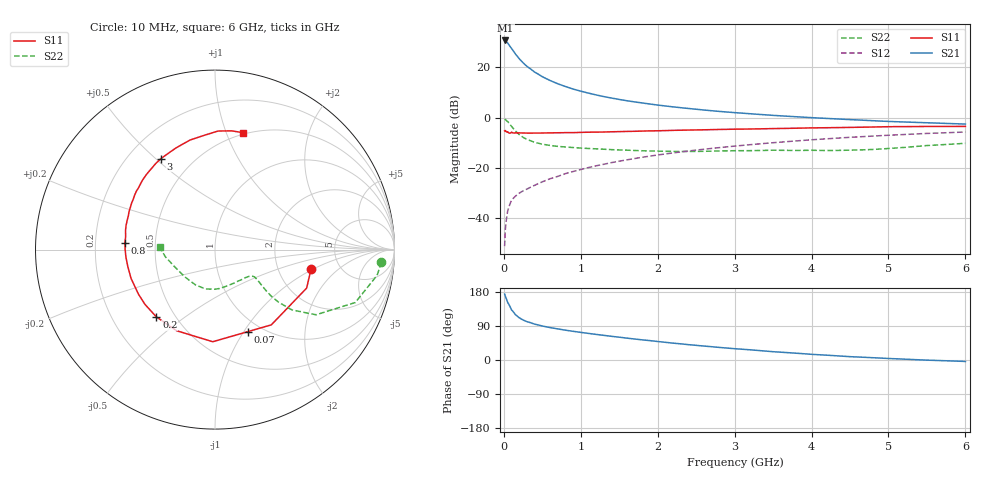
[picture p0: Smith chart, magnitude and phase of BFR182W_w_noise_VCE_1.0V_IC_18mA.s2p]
! (c) 2017  Infineon Technologies AG, Munich
! Infineon Technologies  Discrete & RF Semiconductors
! BFR182W
! VCE =  1.0 V,  IC =  18 mA
! Common Emitter S-Parameters:  Jan 2017
# GHz  S  MA  R  50
!  f  S11  S21  S12  S22
! GHz  MAG  ANG  MAG  ANG  MAG  ANG  MAG  ANG
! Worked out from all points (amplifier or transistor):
!   77 points, 10 MHz to 6 GHz, reference 50 ohm
!   highest |S21| = 30.7 dB at 20 MHz (marker M1)
!   |S21| within 3 dB of that: start of sweep to 96.21 MHz
!   unconditionally stable (mu >= 1): 470.7 MHz to 3.093 GHz
!   at 130 MHz: K = 0.49, MSG = 29.0 dB, |S12| = -31.8 dB
!   at 2.2 GHz: K = 1.07, MAG = 7.5 dB, |S12| = -14.0 dB
!   at 6 GHz: K = 0.96, MSG = 1.6 dB, |S12| = -5.7 dB
!   lowest NFmin = 1.34 dB at 450 MHz
!   S11 on the Smith chart (normalised r, x): 10 MHz: 3.07, -0.96; 70 MHz: 0.86, -1.04; 200 MHz: 0.40, -0.40; 800 MHz: 0.33, +0.03; 3 GHz: 0.33, +0.52; 6 GHz: 0.48, +1.14
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0.01  0.5459 -11.6  34.02 173.9  0.0028 82.4  0.9298 -4.3
0.02  0.5538 -22.8  34.09 168.1  0.0061 82.5  0.9147 -9.0
0.05  0.5237 -53.2  30.4 151.8  0.014 69.0  0.8349 -20.7
0.07  0.4923 -68.2  27.36 145.1  0.0175 64.0  0.7652 -24.9
0.1  0.5135 -91.4  23.74 132.1  0.0229 59.5  0.6704 -32.8
0.15  0.5 -115.3  18.44 119.7  0.0275 55.3  0.544 -38.1
0.2  0.4974 -131.0  14.79 111.5  0.0316 54.4  0.4613 -39.6
0.25  0.4953 -142.0  12.28 105.5  0.0351 55.6  0.407 -39.6
0.3  0.4935 -149.7  10.44 101.2  0.0381 56.9  0.3686 -38.9
0.4  0.4945 -161.0  8.038 94.6  0.0453 59.5  0.3231 -37.2
0.5  0.4949 -168.9  6.5 89.7  0.0531 61.7  0.2968 -35.9
0.6  0.4979 -175.0  5.471 85.6  0.0611 63.7  0.2802 -35.1
0.7  0.5005 -179.8  4.714 82.1  0.068 65.4  0.2689 -34.6
0.8  0.5031 175.7  4.15 78.7  0.0772 66.5  0.2612 -35.0
1.1  0.5135 164.9  3.067 70.2  0.102 67.3  0.2441 -37.6
1.5  0.5273 153.4  2.296 60.2  0.1364 66.8  0.2281 -44.3
2.1  0.5529 138.8  1.704 46.7  0.19 63.8  0.2144 -60.8
3  0.5898 120.7  1.257 29.8  0.2719 56.7  0.2204 -89.3
3.1  0.5918 118.8  1.226 28.4  0.2809 55.7  0.2204 -92.2
4.1  0.6278 101.4  0.981 13.8  0.3714 45.8  0.2232 -122.5
5.1  0.6616 87.2  0.83 3.2  0.4542 34.9  0.2494 -159.9
6  0.6697 76.7  0.745 -3.8  0.518 25.0  0.3092 177.2
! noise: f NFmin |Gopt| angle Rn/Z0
0.45  1.34  0.07  174  0.15
0.9  1.41  0.08  179  0.15
1.9  1.93  0.27  -144  0.15
2.4  2.18  0.27  -129  0.24
